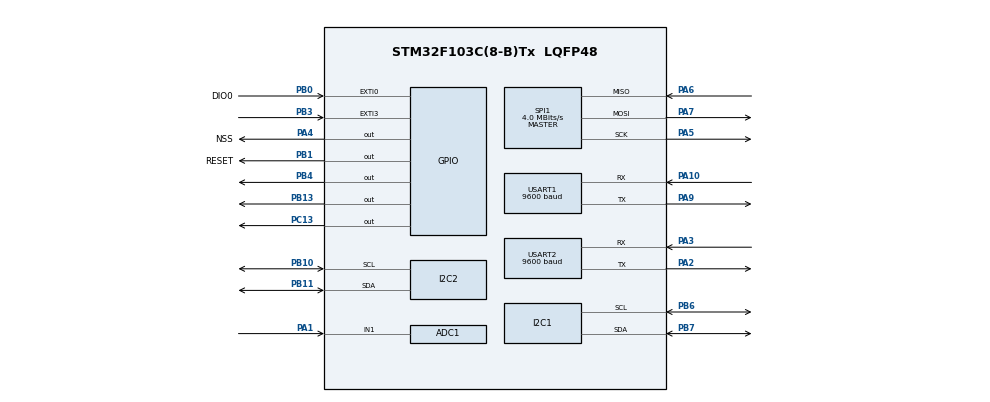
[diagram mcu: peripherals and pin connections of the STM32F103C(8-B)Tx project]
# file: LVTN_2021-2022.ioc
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ADC1.Channel-0\#ChannelRegularConversion=ADC_CHANNEL_1
ADC1.NbrOfConversionFlag=1
ADC1.Rank-0\#ChannelRegularConversion=1
ADC1.SamplingTime-0\#ChannelRegularConversion=ADC_SAMPLETIME_1CYCLE_5
ADC1.master=1
I2C1.I2C_Mode=I2C_Fast
I2C2.I2C_Mode=I2C_Fast
Mcu.Family=STM32F1
Mcu.Name=STM32F103C(8-B)Tx
Mcu.Package=LQFP48
NVIC.ADC1_2_IRQn=true\:0\:0\:false\:false\:true\:true\:true
NVIC.EXTI0_IRQn=true\:1\:0\:true\:false\:true\:true\:true
NVIC.EXTI3_IRQn=true\:0\:0\:false\:false\:true\:true\:true
NVIC.PVD_IRQn=true\:0\:0\:false\:false\:true\:true\:true
NVIC.PriorityGroup=NVIC_PRIORITYGROUP_4
NVIC.SPI1_IRQn=true\:0\:0\:false\:false\:true\:true\:true
NVIC.TIM1_UP_IRQn=true\:2\:0\:true\:false\:true\:true\:true
PA1.Signal=ADCx_IN1
PA10.Mode=Asynchronous
PA10.Signal=USART1_RX
PA13.Mode=Serial_Wire
PA13.Signal=SYS_JTMS-SWDIO
PA14.Mode=Serial_Wire
PA14.Signal=SYS_JTCK-SWCLK
PA2.Mode=Asynchronous
PA2.Signal=USART2_TX
PA3.Mode=Asynchronous
PA3.Signal=USART2_RX
PA4.GPIO_Label=NSS
PA4.PinState=GPIO_PIN_SET
PA4.Signal=GPIO_Output
PA5.Mode=Full_Duplex_Master
PA5.Signal=SPI1_SCK
PA6.Mode=Full_Duplex_Master
PA6.Signal=SPI1_MISO
PA7.Mode=Full_Duplex_Master
PA7.Signal=SPI1_MOSI
PA9.Mode=Asynchronous
PA9.Signal=USART1_TX
PB0.GPIO_Label=DIO0
PB0.Signal=GPXTI0
PB1.GPIO_Label=RESET
PB1.PinState=GPIO_PIN_SET
PB1.Signal=GPIO_Output
PB10.Mode=I2C
PB10.Signal=I2C2_SCL
PB11.Mode=I2C
PB11.Signal=I2C2_SDA
PB13.PinState=GPIO_PIN_SET
PB13.Signal=GPIO_Output
PB3.GPIO_PuPd=GPIO_PULLUP
PB3.Signal=GPXTI3
PB4.PinState=GPIO_PIN_RESET
PB4.Signal=GPIO_Output
PB6.Mode=I2C
PB6.Signal=I2C1_SCL
PB7.Mode=I2C
PB7.Signal=I2C1_SDA
PC13-TAMPER-RTC.GPIO_ModeDefaultOutputPP=GPIO_MODE_OUTPUT_PP
PC13-TAMPER-RTC.Signal=GPIO_Output
PD0-OSC_IN.Mode=HSE-External-Oscillator
PD0-OSC_IN.Signal=RCC_OSC_IN
PD1-OSC_OUT.Mode=HSE-External-Oscillator
PD1-OSC_OUT.Signal=RCC_OSC_OUT
ProjectManager.HeapSize=0x200
ProjectManager.StackSize=0x400
ProjectManager.TargetToolchain=STM32CubeIDE
RCC.APB1Freq_Value=8000000
RCC.APB2Freq_Value=8000000
SH.ADCx_IN1.0=ADC1_IN1,IN1
SPI1.CalculateBaudRate=4.0 MBits/s
SPI1.Direction=SPI_DIRECTION_2LINES
SPI1.Mode=SPI_MODE_MASTER
SPI1.VirtualType=VM_MASTER
TIM1.Period=999
TIM1.Prescaler=8000-1
USART1.BaudRate=9600
USART1.VirtualMode=VM_ASYNC
USART2.BaudRate=9600
USART2.VirtualMode=VM_ASYNC
VP_TIM1_VS_ClockSourceINT.Mode=Internal
board=custom

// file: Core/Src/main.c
/* USER CODE BEGIN Header */
/**
  ******************************************************************************
  * @file           : main.c
  * @brief          : Main program body
  ******************************************************************************
  * @attention
  *
  * <h2><center>&copy; Copyright (c) 2021 STMicroelectronics.
  * All rights reserved.</center></h2>
  *
  * This software component is licensed by ST under BSD 3-Clause license,
  * the "License"; You may not use this file except in compliance with the
  * License. You may obtain a copy of the License at:
  *                        opensource.org/licenses/BSD-3-Clause
  *
  ******************************************************************************
  */
/* USER CODE END Header */
#include "main.h"

/* USER CODE BEGIN Includes */
#include "driver.h"
#include "lora.h"
#include "stdio.h"
#include "stdlib.h"
#include <stdbool.h>
#include <string.h>
#include "math.h"
/* USER CODE END Includes */

ADC_HandleTypeDef hadc1;

I2C_HandleTypeDef hi2c1;
I2C_HandleTypeDef hi2c2;

SPI_HandleTypeDef hspi1;

TIM_HandleTypeDef htim1;

UART_HandleTypeDef huart1;
UART_HandleTypeDef huart2;

/* USER CODE BEGIN PV */
char *str = {0};
//////////////TIMER////////////
int k=0,c=0,q=0,e=0,w=0,v=0;
float XB=15,YB=2,ZB=74,XLB=13,YLB=1,ZLB=77;
//////////////WIND/////////////
int 	count=0;
char 	control1[6];
float 	wind_count,
		circumference_cm,
		rotations,
		distance_km,
		km_per_hour,
		speed;
///////////////LORA///////////////
char data[30]={0};
char data1[30]={0};
char receive_data[50]={0};
char receive_data1[50]={0};
uint8_t p=0,m=0;
////////////	DAT	/////////////
uint16_t adc_value=0;
float	GTao,b;
int GTthuc;
char sensor[10],sensor1[100];
char buffergn[100];
char buffergn1[100];
char l;

/////////////	GPS	////////////////
#define sentenceSize 80
char sentence[sentenceSize];
char datagps[50] = {0};
char datagps1[50] = {0};
char KD[100]= {0};
char VD[100]= {0};
/////////////////////////	pin 	//////////////////
int pnguyen,pthapphan;
int giatri;
char Phantrampin[100];
char *datagps1B = {0};
int warning;
///////////////////////////////////////////////////

/* USER CODE END PV */

void SystemClock_Config(void);
static void MX_GPIO_Init(void);
static void MX_ADC1_Init(void);
static void MX_I2C1_Init(void);
static void MX_I2C2_Init(void);
static void MX_SPI1_Init(void);
static void MX_TIM1_Init(void);
static void MX_USART1_UART_Init(void);
static void MX_USART2_UART_Init(void);

/* USER CODE BEGIN 0 */
/////////////////////////  PIN  //////////////////////////////////
#define MAX17043_ADDRESS 0x36<<1
uint8_t data_max[20];
void write (uint8_t reg,uint8_t value)
{
uint8_t data[2];
		data[0] = reg;
	  	data[1] = value;
	  	HAL_I2C_Master_Transmit (&hi2c1, MAX17043_ADDRESS, data, 2, 10);
}
void read (uint8_t reg )
{
	HAL_I2C_Mem_Read(&hi2c1, MAX17043_ADDRESS, reg, 1, (uint8_t *)data_max,3, 100);

}
void max17043_init(void)
{
write(0xFE,0x00);
write(0xFE,0x54);
HAL_Delay(100);
write(0x06, 0x00);
}
void pin()
{
	max17043_init();
	HAL_Delay(100);
	read(0x04);
	pnguyen = data_max[0];
    pthapphan = data_max[1];
	giatri = pnguyen + (pthapphan/256);
	HAL_Delay(500);
   	sprintf(Phantrampin,"\n phan tram pin = %d%%  \r\n", giatri);
   	HAL_UART_Transmit(&huart1, (uint8_t*)Phantrampin, strlen(Phantrampin), 100);
	  HAL_Delay(100);
	  }
/////////////////////////	GOC NGHIENG 1 	//////////////////
#define adxl_address 0x53<<1

int8_t data_rec1[6];
int16_t xl,yl,zl;
float xgl,ygl,zgl,
	  XL,YL,ZL,xxL,yyL,zzL;

void adxl_write1 (uint8_t reg,uint8_t value)
{
	uint8_t data1[2];
	data1[0] = reg;
	data1[1] = value;
	HAL_I2C_Master_Transmit (&hi2c2, adxl_address, data1, 2, 10);
}
void adxl_read1 (uint8_t reg, uint8_t numberofbytes)
{
	for(int i = 0; i < sizeof(data_rec1); i++)
		{
			data_rec1[i] = 0;
		}
	HAL_I2C_Mem_Read(&hi2c2, adxl_address, reg, 1, (uint8_t *)data_rec1,numberofbytes, 100);
}
void adxl_init1(void)
{
	adxl_read1(0x00,1);
	adxl_write1(0x2d,0);
	adxl_write1(0x2d,0x08);
	adxl_write1(0x31,0x01);

}

void kq_adxl1()
{
	adxl_read1(0x32,6);
	xl=data_rec1[1]<<8| data_rec1[0];
	yl=data_rec1[3]<<8| data_rec1[2];
	zl=data_rec1[5]<<8| data_rec1[4];
	xgl = xl* .0078;
	ygl = yl* .0078;
	zgl = zl* .0078;
//	fXg = Xg * alpha + (fXg * (1.0 - alpha));
	if(xgl!=0 || ygl!=0 || zgl!=0)
	{
//		fxg=xg* 0.5 +(fxg*0.5);
//		fyg=yg* 0.5 +(fyg*0.5);
//		fzg=zg* 0.5 +(fzg*0.5);

		//roll  = (atan2(-fyg, fzg)*180.0)/3.14;
		XL = (atan2(xgl, sqrt(ygl*ygl + zgl*zgl))*180.0)/3.14;
		YL = (atan2(ygl, sqrt(xgl*xgl + zgl*zgl))*180.0)/3.14;
		ZL = (atan2(zgl, sqrt(xgl*xgl + ygl*ygl))*180.0)/3.14;
//		sprintf(buffergn1,"\r\n XL=%.4f YL=%.4f  ZL=%.4f \r\n ",XL, YL,ZL );
//		HAL_UART_Transmit(&huart1 , (uint8_t *)buffergn1, strlen(buffergn1), 1000);
//
//		HAL_Delay(1000);
	}
	else
	{
		XL=0;
		YL=0;
		ZL=0;
//		sprintf(buffergn1,"\r\n XL=%.4f YL=%.4f  ZL=%.4f \r\n ",XL, YL,ZL );
//      HAL_UART_Transmit(&huart1 , (uint8_t *)buffergn1, strlen(buffergn1), 1000);
//		HAL_Delay(500);

	}
}
void kq_adxl_timer1()
{
	adxl_read1(0x32,6);
	xl=data_rec1[1]<<8| data_rec1[0];
	yl=data_rec1[3]<<8| data_rec1[2];
	zl=data_rec1[5]<<8| data_rec1[4];
	xgl = xl* .0078;
	ygl = yl* .0078;
	zgl = zl* .0078;
//	fXg = Xg * alpha + (fXg * (1.0 - alpha));
	if(xgl!=0 || ygl!=0 || zgl!=0)
	{
//		fxg=xg* 0.5 +(fxg*0.5);
//		fyg=yg* 0.5 +(fyg*0.5);
//		fzg=zg* 0.5 +(fzg*0.5);

		//roll  = (atan2(-fyg, fzg)*180.0)/3.14;
		XL = (atan2(xgl, sqrt(ygl*ygl + zgl*zgl))*180.0)/3.14;
		YL = (atan2(ygl, sqrt(xgl*xgl + zgl*zgl))*180.0)/3.14;
		ZL = (atan2(zgl, sqrt(xgl*xgl + ygl*ygl))*180.0)/3.14;
		sprintf(buffergn1,"\r\n XL=%.4f YL=%.4f  ZL=%.4f \r\n ",XL, YL,ZL );
		HAL_UART_Transmit(&huart1 , (uint8_t *)buffergn1, strlen(buffergn1), 100);
//
//		HAL_Delay(1000);
	}
	else
	{
		XL=0;
		YL=0;
		ZL=0;
//		sprintf(buffergn1,"\r\n XL=%.4f YL=%.4f  ZL=%.4f \r\n ",XL, YL,ZL );
//      HAL_UART_Transmit(&huart1 , (uint8_t *)buffergn1, strlen(buffergn1), 1000);
//		HAL_Delay(500);

	}
}

////////////////////////////// goc nghieng 2 ///////////////////////////
#define adxl_address 0x53<<1

int8_t data_rec[6];
int16_t x,y,z;
float xg,yg,zg,
	  X,Y,Z,xx,yy,zz;

void adxl_write (uint8_t reg,uint8_t value)
{
	uint8_t data[2];
	data[0] = reg;
	data[1] = value;
	HAL_I2C_Master_Transmit (&hi2c1, adxl_address, data, 2, 10);
}
void adxl_read (uint8_t reg, uint8_t numberofbytes)
{
	for(int i = 0; i < sizeof(data_rec); i++)
		{
			data_rec[i] = 0;
		}
	HAL_I2C_Mem_Read(&hi2c1, adxl_address, reg, 1, (uint8_t *)data_rec,numberofbytes, 100);
}
void adxl_init(void)
{
	adxl_read(0x00,1);
	adxl_write(0x2d,0);
	adxl_write(0x2d,0x08);
	adxl_write(0x31,0x01);

}

void kq_adxl()
{
	adxl_read(0x32,6);
	x=data_rec[1]<<8| data_rec[0];
	y=data_rec[3]<<8| data_rec[2];
	z=data_rec[5]<<8| data_rec[4];
	xg = x* .0078;
	yg = y* .0078;
	zg = z* .0078;
//	fXg = Xg * alpha + (fXg * (1.0 - alpha));
	if(xg!=0 || yg!=0 || zg!=0)
	{
//		fxg=xg* 0.5 +(fxg*0.5);
//		fyg=yg* 0.5 +(fyg*0.5);
//		fzg=zg* 0.5 +(fzg*0.5);

		//roll  = (atan2(-fyg, fzg)*180.0)/3.14;
		X = (atan2(xg, sqrt(yg*yg + zg*zg))*180.0)/3.14;
		Y = (atan2(yg, sqrt(xg*xg + zg*zg))*180.0)/3.14;
		Z = (atan2(zg, sqrt(xg*xg + yg*yg))*180.0)/3.14;
//		sprintf(buffergn,"\r\n XH=%.4f YH=%.4f  ZH=%.4f \r\n ",X, Y,Z );
//		HAL_UART_Transmit(&huart1 , (uint8_t *)buffergn, strlen(buffergn), 1000);
//
//		HAL_Delay(1000);
	}
	else
	{
		X=0;
		Y=0;
		Z=0;
//		sprintf(buffergn,"\r\n XH=%.4f YH=%.4f  ZH=%.4f \r\n ",X, Y,Z );
//        HAL_UART_Transmit(&huart1 , (uint8_t *)buffergn, strlen(buffergn), 1000);
//		HAL_Delay(500);

	}
}

void kq_adxl_timer()
{
	adxl_read(0x32,6);
	x=data_rec[1]<<8| data_rec[0];
	y=data_rec[3]<<8| data_rec[2];
	z=data_rec[5]<<8| data_rec[4];
	xg = x* .0078;
	yg = y* .0078;
	zg = z* .0078;
	//fXg = Xg * alpha + (fXg * (1.0 - alpha));
	if(xg!=0 || yg!=0 || zg!=0)
	{
//		fxg=xg* 0.5 +(fxg*0.5);
//		fyg=yg* 0.5 +(fyg*0.5);
//		fzg=zg* 0.5 +(fzg*0.5);

		//roll  = (atan2(-fyg, fzg)*180.0)/3.14;
		X = (atan2(xg, sqrt(yg*yg + zg*zg))*180.0)/3.14;
		Y = (atan2(yg, sqrt(xg*xg + zg*zg))*180.0)/3.14;
		Z = (atan2(zg, sqrt(xg*xg + yg*yg))*180.0)/3.14;
		sprintf(buffergn,"\r\n X=%.4f Y=%.4f  Z=%.4f \r\n ",X, Y,Z );
		HAL_UART_Transmit(&huart1 , (uint8_t *)buffergn, strlen(buffergn), 1000);

	//HAL_Delay(500);
	}
	else
	{
		X=0;
		Y=0;
		Z=0;
		sprintf(buffergn,"\r\n X=%.4f Y=%.4f  Z=%.4f \r\n ",X, Y,Z );
        HAL_UART_Transmit(&huart1 , (uint8_t *)buffergn, strlen(buffergn), 1000);
		HAL_Delay(1000);

	}
}

//////////////lora////////

void LoRa_txMode(void)
{
    LoRa_idle(); // set standby mode
    LoRa_enableInvertIQ(); // active invert I and Q signals
}

void LoRa_rxMode(void)
{
	LoRa_disableInvertIQ(); // normal mode
    LoRa_receive(0); // set receive mode
}

void send_id(uint8_t id)
{
    char buffer[30];
    sprintf(buffer, "%d", id);
    LoRa_txMode();
    LoRa_sendPacket(buffer);

}

uint8_t get_id(void)
{
    char buffer[30]={0};

    LoRa_rxMode();
    LoRa_receivePacket(buffer, 7000);
    uint8_t id = atoi(buffer);
    for(uint8_t i = 0; i < strlen(buffer); i++)
        {
            buffer[i] = 0;
        }
    return id;
}

void clear_buffer(char* buffer)
{
    uint8_t i;
    for(i = 0; i < sizeof(buffer); i++)
    {
        buffer[i] = 0;
    }
}

void Response_Gateway(void)
{
    uint8_t ID,t=0,k=0,i=0,q=0;

    char send_data[120]={0};

    	for( i = 0; i < sizeof(data); i++)
    	{
    		data[i] = 0;
    	}
        LoRa_rxMode();
    	LoRa_receivePacket(data, 40000);
    	 HAL_UART_Transmit(&huart1, (uint8_t *)data ,sizeof(data), 5000);
        if(!strcmp(data,"hello"))
        {
        	HAL_GPIO_WritePin(GPIOB, GPIO_PIN_13, GPIO_PIN_RESET);
        	HAL_UART_Transmit(&huart1, (uint8_t *)"\n\rSend ID to Gateway:" ,21,10000);
        	LoRa_txMode();
         	HAL_Delay(1000);
            send_id(ID_NODE);
            HAL_GPIO_WritePin(GPIOB, GPIO_PIN_13, GPIO_PIN_SET);
            HAL_Delay(500);
            sprintf(data1, " %d",ID_NODE );
            HAL_UART_Transmit(&huart1, (uint8_t *)data1 ,strlen(data1), 5000);
            HAL_UART_Transmit(&huart1, (uint8_t *)"\n\rGet ID from Gateway:" ,22, 10000);
            ID = get_id();
            sprintf(data1, " %d", ID);
            HAL_UART_Transmit(&huart1, (uint8_t *)data1 ,strlen(data1), 5000);
            LoRa_rxMode();
            t=0;
            k=0;
            if(ID == ID_NODE)
            {
            	while(1)
            	{

            		for( q = 0; q < sizeof(receive_data); q++)
            		{
            			receive_data[q] = 0;
            		}
            		LoRa_receivePacket(receive_data, 20000);
            		k++;
            		if(k==10) ///////////////////// thêm nút thì tăng k
            		{
            			break;
            		}
            		if(!strcmp(receive_data,"send_data"))
            		{
            			for( k=0;k<5;k++)
            			{
            				if(t==8) //////////////////khoảng 4 nút
            				{
            					break;
            				}
            				while(1)

            				{
            					for( i = 0; i < sizeof(receive_data1); i++)
								{
									 receive_data1[i] = 0;
								}
            					LoRa_rxMode();
            					LoRa_receivePacket(receive_data1, 12000);
            					if(!strcmp(receive_data1,"1"))
            					{
            						HAL_ADC_Start_IT(&hadc1);
            						KqTocdogio();
            						pin();
            						kq_adxl();
            						kq_adxl1();
									//itoa(speed,control1,10);///////gio
									itoa(GTthuc,sensor,10);///////dat
									HAL_Delay(400);
									sprintf(send_data,"*%s!%s#%s$%.f&%.f %.f^%s@%d<%.f&%.f %.f^%d@",receive_data1,datagps1B,sensor,X,Y,Z,control1,giatri,XL,YL,ZL,warning );
									HAL_UART_Transmit(&huart1, (uint8_t *)"\n\rSend data node2:" ,20,10000);
									HAL_GPIO_WritePin(GPIOB, GPIO_PIN_13, GPIO_PIN_RESET);
									HAL_Delay(1000);
									LoRa_txMode();
									LoRa_sendPacket(send_data);
									if( X-xx>5 || Y-yy>5 )
								    {
									  p++;
									}
									if( X-xx<-5 || Y-yy<-5 )
									{
									  m++;
									}
									HAL_UART_Transmit(&huart1, (uint8_t *)"\n\r", 3,1000);
									HAL_UART_Transmit(&huart1, (uint8_t *)send_data,strlen(send_data),5000);
									for(i=0;i<sizeof(send_data);i++)
									{
										send_data[i]=0;
									}
									for(i=0;i<sizeof(sensor);i++)
									{
										sensor[i]=0;
									}
									HAL_Delay(500);
									t=0;
									HAL_GPIO_WritePin(GPIOB, GPIO_PIN_13, GPIO_PIN_SET);
									break;
            					}
            					t++;
            					if(t==8)
            					{
            						break;
            					}
            					for( i = 0; i < sizeof(receive_data1); i++)
            					{
            					     receive_data1[i] = 0;
            					}

            				}

            			}
            			LoRa_txMode();
            			HAL_TIM_Base_Stop_IT(&htim1);
            			HAL_NVIC_DisableIRQ(EXTI3_IRQn);
//            			RTC_SetTime(9, 9, 0, 20, 3, 21);
//            			sleep_1p();
            			HAL_NVIC_EnableIRQ(EXTI3_IRQn);
            			break;
            		}
            		for( q = 0; q < sizeof(receive_data); q++)
            		{
            			receive_data[q] = 0;
            		}

            	}
            }
        }

}
////////////////////	WIND	//////////////////
void KqTocdogio()
  {
	  HAL_UART_Transmit(&huart1,(uint8_t*)"toc do gio: ",14,10000);
	  itoa(speed,control1,10);
	  HAL_UART_Transmit(&huart1,(uint8_t*)control1,4,10000);
	  HAL_UART_Transmit(&huart1,(uint8_t*)"km/h ",6,10000);
	  HAL_UART_Transmit(&huart1,(uint8_t*)"\n\r ",2,10000);
	  HAL_Delay(999);
  }

//////////////////	GPS		//////////////////////
void getField(char* buff, int index)
{
  int sentencePos = 0;
  int fieldPos = 0;
  int commaCount = 0;
  while (sentencePos < sentenceSize)
  {
    if (sentence[sentencePos] == ',')
    {
      commaCount ++;
      sentencePos ++;
    }
    if (commaCount == index)
    {
      buff[fieldPos] = sentence[sentencePos];
      fieldPos ++;
    }
    sentencePos ++;
  }
  buff[fieldPos] = '\0';
}
void kqgps()
{
	  int i = 0;
	  char ch;
	  while (1)
	  {
		  if(HAL_UART_Receive(&huart2, (uint8_t*)&ch, 1, 100) == HAL_OK)
		  {
			  if (ch != '\n' && i < sentenceSize)
			  {
				sentence[i] = ch;
				i++;
			  }
			  else
			  {
				  sentence[i] = '\0';
				  i = 0;
				  char field[20];
				  char TIME[20];
				  char hour[3];
				  int hourValue;
				  char minute[3];
				  char second[3];
				  char LATITUDE[15]={0};
				  char northSouth[3];
				  char LONGITUDE[15]={0};
				  char westEast[3];
				  char ALTITUDE[10];

				  getField(field, 0);
				  if (strcmp(field, "$GPGGA") == 0)
				  {
					  getField(TIME, 1); // Time
					  getField(LATITUDE, 2); // Latitude
					  getField(northSouth, 3); // North/South
					  getField(LONGITUDE, 4); // Longitude
					  getField(westEast, 5); // West/East
					  getField(ALTITUDE, 9); // Altitude above mean sea level

					  strncpy(hour, TIME, 2);
					  hourValue = atoi(hour) + 7; // Add 2 to adjust for France zone from GMT
					  itoa(hourValue, hour, 10);
					  hour[2]= '\0';
					  strncpy(minute, &TIME[2], 2);
					  minute[2]= '\0';
					  strncpy(second, &TIME[4], 2);
					  second[2]= '\0';

//					  sprintf(datagps, "%s:%s:%s, %s%s, %s%s, %s ", hour, minute, second, LATITUDE, northSouth, LONGITUDE, westEast, ALTITUDE);
					  sprintf(datagps, "%s>%s", LONGITUDE,LATITUDE);

					  HAL_UART_Transmit(&huart1, (uint8_t*)"\n----->", 8, 1000);
					  HAL_UART_Transmit(&huart1, (uint8_t*)datagps, strlen(datagps), 5000);
					  if(ALTITUDE[0] !=48)
					  {
						 break;
					  }
					  for(uint8_t i=0;i<sizeof(datagps);i++)
					  {
						  datagps[i]=0;
					  }

				  }

			  }
		  }
	  }
}

/* USER CODE END 0 */

int main(void)
{

  /* MCU Configuration--------------------------------------------------------*/

  /* Reset of all peripherals, Initializes the Flash interface and the Systick. */
  HAL_Init();

  /* Configure the system clock */
  SystemClock_Config();

  /* Initialize all configured peripherals */
  MX_GPIO_Init();
  MX_ADC1_Init();
  MX_I2C1_Init();
  MX_I2C2_Init();
  MX_SPI1_Init();
  MX_TIM1_Init();
  MX_USART1_UART_Init();
  MX_USART2_UART_Init();
  /* USER CODE BEGIN 2 */
 // kqgps();
  max17043_init();
  for(uint8_t i=0;i<strlen(datagps);i++)
  {
  	datagps1[i]=datagps[i];
  }
  adxl_init1();
  adxl_init();
  if(!LoRa_Init(434E6))
   {
 	  char str[] = "\n\rLoRa init failed\n\r";
 	  HAL_UART_Transmit(&huart1 , (uint8_t*)str, sizeof(str), 1000);
       while(1);
   }
	LoRa_setSignalBandwidth(125E3);
	LoRa_setSpreadingFactor(8);
	LoRa_setPreambleLength(8);
	LoRa_setCodingRate4(5);
	LoRa_enableCrc();
   char str[] = "\n\rLoRa Node init succeeded\n\r";
   HAL_UART_Transmit(&huart1 , (uint8_t*)str, sizeof(str), 1000);
   LoRa_rxMode();

  /* USER CODE END 2 */

  /* Infinite loop */
  /* USER CODE BEGIN WHILE */

   for(uint8_t a=0;a<3;a++)
   {
	   kq_adxl();
	   kq_adxl1();
	   xxL=XL;
	   yyL=YL;
	   zzL=ZL;
	   xx=X;
	   yy=Y;
	   zz=Z;
	   sprintf(buffergn,"\r\n XH=%.4f YH=%.4f  ZH=%.4f \r\n ",X, Y,Z );
	   sprintf(buffergn1,"\r\n XL=%.4f YL=%.4f  ZL=%.4f \r\n ",XL, YL,ZL );
	   HAL_UART_Transmit(&huart1 , (uint8_t *)buffergn, strlen(buffergn), 100);
	   HAL_UART_Transmit(&huart1 , (uint8_t *)buffergn1, strlen(buffergn1), 100);
	   HAL_GPIO_WritePin(GPIOB, GPIO_PIN_13, GPIO_PIN_SET);
	   HAL_Delay(200);
	   HAL_GPIO_WritePin(GPIOB, GPIO_PIN_13, GPIO_PIN_RESET);
	   datagps1B = "10546.8284>1002.8274";
   }

  while (1)
  {
	  HAL_TIM_Base_Start_IT(&htim1);
	  Response_Gateway();
    /* USER CODE END WHILE */

  }
}

void SystemClock_Config(void)
{
  RCC_OscInitTypeDef RCC_OscInitStruct = {0};
  RCC_ClkInitTypeDef RCC_ClkInitStruct = {0};
  RCC_PeriphCLKInitTypeDef PeriphClkInit = {0};

  /** Initializes the RCC Oscillators according to the specified parameters
  * in the RCC_OscInitTypeDef structure.
  */
  RCC_OscInitStruct.OscillatorType = RCC_OSCILLATORTYPE_HSI;
  RCC_OscInitStruct.HSIState = RCC_HSI_ON;
  RCC_OscInitStruct.HSICalibrationValue = RCC_HSICALIBRATION_DEFAULT;
  RCC_OscInitStruct.PLL.PLLState = RCC_PLL_NONE;
  if (HAL_RCC_OscConfig(&RCC_OscInitStruct) != HAL_OK)
  {
    Error_Handler();
  }
  /** Initializes the CPU, AHB and APB buses clocks
  */
  RCC_ClkInitStruct.ClockType = RCC_CLOCKTYPE_HCLK|RCC_CLOCKTYPE_SYSCLK
                              |RCC_CLOCKTYPE_PCLK1|RCC_CLOCKTYPE_PCLK2;
  RCC_ClkInitStruct.SYSCLKSource = RCC_SYSCLKSOURCE_HSI;
  RCC_ClkInitStruct.AHBCLKDivider = RCC_SYSCLK_DIV1;
  RCC_ClkInitStruct.APB1CLKDivider = RCC_HCLK_DIV1;
  RCC_ClkInitStruct.APB2CLKDivider = RCC_HCLK_DIV1;

  if (HAL_RCC_ClockConfig(&RCC_ClkInitStruct, FLASH_LATENCY_0) != HAL_OK)
  {
    Error_Handler();
  }
  PeriphClkInit.PeriphClockSelection = RCC_PERIPHCLK_ADC;
  PeriphClkInit.AdcClockSelection = RCC_ADCPCLK2_DIV2;
  if (HAL_RCCEx_PeriphCLKConfig(&PeriphClkInit) != HAL_OK)
  {
    Error_Handler();
  }
}

static void MX_ADC1_Init(void)
{

  ADC_ChannelConfTypeDef sConfig = {0};

  /** Common config
  */
  hadc1.Instance = ADC1;
  hadc1.Init.ScanConvMode = ADC_SCAN_DISABLE;
  hadc1.Init.ContinuousConvMode = DISABLE;
  hadc1.Init.DiscontinuousConvMode = DISABLE;
  hadc1.Init.ExternalTrigConv = ADC_SOFTWARE_START;
  hadc1.Init.DataAlign = ADC_DATAALIGN_RIGHT;
  hadc1.Init.NbrOfConversion = 1;
  if (HAL_ADC_Init(&hadc1) != HAL_OK)
  {
    Error_Handler();
  }
  /** Configure Regular Channel
  */
  sConfig.Channel = ADC_CHANNEL_1;
  sConfig.Rank = ADC_REGULAR_RANK_1;
  sConfig.SamplingTime = ADC_SAMPLETIME_1CYCLE_5;
  if (HAL_ADC_ConfigChannel(&hadc1, &sConfig) != HAL_OK)
  {
    Error_Handler();
  }

}

static void MX_I2C1_Init(void)
{

  hi2c1.Instance = I2C1;
  hi2c1.Init.ClockSpeed = 400000;
  hi2c1.Init.DutyCycle = I2C_DUTYCYCLE_2;
  hi2c1.Init.OwnAddress1 = 0;
  hi2c1.Init.AddressingMode = I2C_ADDRESSINGMODE_7BIT;
  hi2c1.Init.DualAddressMode = I2C_DUALADDRESS_DISABLE;
  hi2c1.Init.OwnAddress2 = 0;
  hi2c1.Init.GeneralCallMode = I2C_GENERALCALL_DISABLE;
  hi2c1.Init.NoStretchMode = I2C_NOSTRETCH_DISABLE;
  if (HAL_I2C_Init(&hi2c1) != HAL_OK)
  {
    Error_Handler();
  }

}

static void MX_I2C2_Init(void)
{

  hi2c2.Instance = I2C2;
  hi2c2.Init.ClockSpeed = 400000;
  hi2c2.Init.DutyCycle = I2C_DUTYCYCLE_2;
  hi2c2.Init.OwnAddress1 = 0;
  hi2c2.Init.AddressingMode = I2C_ADDRESSINGMODE_7BIT;
  hi2c2.Init.DualAddressMode = I2C_DUALADDRESS_DISABLE;
  hi2c2.Init.OwnAddress2 = 0;
  hi2c2.Init.GeneralCallMode = I2C_GENERALCALL_DISABLE;
  hi2c2.Init.NoStretchMode = I2C_NOSTRETCH_DISABLE;
  if (HAL_I2C_Init(&hi2c2) != HAL_OK)
  {
    Error_Handler();
  }

}

static void MX_SPI1_Init(void)
{

  /* SPI1 parameter configuration*/
  hspi1.Instance = SPI1;
  hspi1.Init.Mode = SPI_MODE_MASTER;
  hspi1.Init.Direction = SPI_DIRECTION_2LINES;
  hspi1.Init.DataSize = SPI_DATASIZE_8BIT;
  hspi1.Init.CLKPolarity = SPI_POLARITY_LOW;
  hspi1.Init.CLKPhase = SPI_PHASE_1EDGE;
  hspi1.Init.NSS = SPI_NSS_SOFT;
  hspi1.Init.BaudRatePrescaler = SPI_BAUDRATEPRESCALER_2;
  hspi1.Init.FirstBit = SPI_FIRSTBIT_MSB;
  hspi1.Init.TIMode = SPI_TIMODE_DISABLE;
  hspi1.Init.CRCCalculation = SPI_CRCCALCULATION_DISABLE;
  hspi1.Init.CRCPolynomial = 10;
  if (HAL_SPI_Init(&hspi1) != HAL_OK)
  {
    Error_Handler();
  }

}

static void MX_TIM1_Init(void)
{

  TIM_ClockConfigTypeDef sClockSourceConfig = {0};
  TIM_MasterConfigTypeDef sMasterConfig = {0};

  htim1.Instance = TIM1;
  htim1.Init.Prescaler = 8000-1;
  htim1.Init.CounterMode = TIM_COUNTERMODE_UP;
  htim1.Init.Period = 999;
  htim1.Init.ClockDivision = TIM_CLOCKDIVISION_DIV1;
  htim1.Init.RepetitionCounter = 0;
  htim1.Init.AutoReloadPreload = TIM_AUTORELOAD_PRELOAD_DISABLE;
  if (HAL_TIM_Base_Init(&htim1) != HAL_OK)
  {
    Error_Handler();
  }
  sClockSourceConfig.ClockSource = TIM_CLOCKSOURCE_INTERNAL;
  if (HAL_TIM_ConfigClockSource(&htim1, &sClockSourceConfig) != HAL_OK)
  {
    Error_Handler();
  }
  sMasterConfig.MasterOutputTrigger = TIM_TRGO_RESET;
  sMasterConfig.MasterSlaveMode = TIM_MASTERSLAVEMODE_DISABLE;
  if (HAL_TIMEx_MasterConfigSynchronization(&htim1, &sMasterConfig) != HAL_OK)
  {
    Error_Handler();
  }

}

static void MX_USART1_UART_Init(void)
{

  huart1.Instance = USART1;
  huart1.Init.BaudRate = 9600;
  huart1.Init.WordLength = UART_WORDLENGTH_8B;
  huart1.Init.StopBits = UART_STOPBITS_1;
  huart1.Init.Parity = UART_PARITY_NONE;
  huart1.Init.Mode = UART_MODE_TX_RX;
  huart1.Init.HwFlowCtl = UART_HWCONTROL_NONE;
  huart1.Init.OverSampling = UART_OVERSAMPLING_16;
  if (HAL_UART_Init(&huart1) != HAL_OK)
  {
    Error_Handler();
  }

}

static void MX_USART2_UART_Init(void)
{

  huart2.Instance = USART2;
  huart2.Init.BaudRate = 9600;
  huart2.Init.WordLength = UART_WORDLENGTH_8B;
  huart2.Init.StopBits = UART_STOPBITS_1;
  huart2.Init.Parity = UART_PARITY_NONE;
  huart2.Init.Mode = UART_MODE_TX_RX;
  huart2.Init.HwFlowCtl = UART_HWCONTROL_NONE;
  huart2.Init.OverSampling = UART_OVERSAMPLING_16;
  if (HAL_UART_Init(&huart2) != HAL_OK)
  {
    Error_Handler();
  }

}

static void MX_GPIO_Init(void)
{
  GPIO_InitTypeDef GPIO_InitStruct = {0};

  /* GPIO Ports Clock Enable */
  __HAL_RCC_GPIOC_CLK_ENABLE();
  __HAL_RCC_GPIOD_CLK_ENABLE();
  __HAL_RCC_GPIOA_CLK_ENABLE();
  __HAL_RCC_GPIOB_CLK_ENABLE();

  /*Configure GPIO pin Output Level */
  HAL_GPIO_WritePin(GPIOC, GPIO_PIN_13, GPIO_PIN_RESET);

  /*Configure GPIO pin Output Level */
  HAL_GPIO_WritePin(NSS_GPIO_Port, NSS_Pin, GPIO_PIN_SET);

  /*Configure GPIO pin Output Level */
  HAL_GPIO_WritePin(GPIOB, RESET_Pin|GPIO_PIN_13, GPIO_PIN_SET);

  /*Configure GPIO pin Output Level */
  HAL_GPIO_WritePin(GPIOB, GPIO_PIN_4, GPIO_PIN_RESET);

  /*Configure GPIO pin : PC13 */
  GPIO_InitStruct.Pin = GPIO_PIN_13;
  GPIO_InitStruct.Mode = GPIO_MODE_OUTPUT_PP;
  GPIO_InitStruct.Pull = GPIO_NOPULL;
  GPIO_InitStruct.Speed = GPIO_SPEED_FREQ_LOW;
  HAL_GPIO_Init(GPIOC, &GPIO_InitStruct);

  /*Configure GPIO pin : NSS_Pin */
  GPIO_InitStruct.Pin = NSS_Pin;
  GPIO_InitStruct.Mode = GPIO_MODE_OUTPUT_PP;
  GPIO_InitStruct.Pull = GPIO_NOPULL;
  GPIO_InitStruct.Speed = GPIO_SPEED_FREQ_LOW;
  HAL_GPIO_Init(NSS_GPIO_Port, &GPIO_InitStruct);

  /*Configure GPIO pin : DIO0_Pin */
  GPIO_InitStruct.Pin = DIO0_Pin;
  GPIO_InitStruct.Mode = GPIO_MODE_IT_RISING;
  GPIO_InitStruct.Pull = GPIO_NOPULL;
  HAL_GPIO_Init(DIO0_GPIO_Port, &GPIO_InitStruct);

  /*Configure GPIO pins : RESET_Pin PB13 PB4 */
  GPIO_InitStruct.Pin = RESET_Pin|GPIO_PIN_13|GPIO_PIN_4;
  GPIO_InitStruct.Mode = GPIO_MODE_OUTPUT_PP;
  GPIO_InitStruct.Pull = GPIO_NOPULL;
  GPIO_InitStruct.Speed = GPIO_SPEED_FREQ_LOW;
  HAL_GPIO_Init(GPIOB, &GPIO_InitStruct);

  /*Configure GPIO pin : PB3 */
  GPIO_InitStruct.Pin = GPIO_PIN_3;
  GPIO_InitStruct.Mode = GPIO_MODE_IT_RISING;
  GPIO_InitStruct.Pull = GPIO_PULLUP;
  HAL_GPIO_Init(GPIOB, &GPIO_InitStruct);

  /* EXTI interrupt init*/
  HAL_NVIC_SetPriority(EXTI0_IRQn, 1, 0);
  HAL_NVIC_EnableIRQ(EXTI0_IRQn);

  HAL_NVIC_SetPriority(EXTI3_IRQn, 0, 0);
  HAL_NVIC_EnableIRQ(EXTI3_IRQn);

}

/* USER CODE BEGIN 4 */
void HAL_GPIO_EXTI_Callback(uint16_t GPIO_Pin)
{
	if(GPIO_Pin == DIO0_Pin)
	 {
		LoRa_handleDio0Rise();
	 }
	if(GPIO_Pin==GPIO_PIN_3)
		count++;
}
void HAL_ADC_ConvCpltCallback(ADC_HandleTypeDef* hadc)
  {
	  if(hadc->Instance==ADC1)
	  {
		  adc_value=HAL_ADC_GetValue(&hadc1);
		  b=adc_value;
		  GTao=(b/4096)*100;
		  GTthuc=100-GTao;
		  if(GTthuc<5)
		  {
			  GTthuc=0;
		  }
		  HAL_UART_Transmit(&huart1,(uint8_t*)"HUMI:", 6,1000);
		  sprintf(sensor,"%d",GTthuc);
		  HAL_UART_Transmit(&huart1,(uint8_t*)sensor, 5,1000);
		  HAL_UART_Transmit(&huart1,(uint8_t*)"%", 1,1000);
		  HAL_UART_Transmit(&huart1,(uint8_t*)"\n\r", 2,1000);
		  for(uint8_t i=0;i<3;i++)
		  {
			  sensor[i]=0;
		  }
	  }
  }

void Counter()
{
	count++;
}

void Wind()
{
	uint8_t radius_cm = 9;

	circumference_cm = 2 * 3.14 * radius_cm;
	rotations = count / 2;
	distance_km = (circumference_cm * rotations) / 100000;
	km_per_hour = (distance_km / 1) * 3600;
	speed = km_per_hour * 1.18;
}

void HAL_TIM_PeriodElapsedCallback(TIM_HandleTypeDef *htim)
{
	if(htim->Instance == htim1.Instance)
	{
		Wind();
		count=0;
		HAL_GPIO_WritePin(GPIOB, GPIO_PIN_13, GPIO_PIN_RESET);
		if (q==5)
		{
			q=0;
			k=0;
			c=0;
			w=0;
			v=0;
			//warning=0;
		}
		if(e==20)
		{
			e=0;
			HAL_GPIO_WritePin(GPIOB, GPIO_PIN_4, GPIO_PIN_RESET);
		}
		kq_adxl_timer1();
		kq_adxl_timer();
		if( XL-xxL>5 || YL-yyL>5 )
		{
			w++;
		}
		if( XL-xxL<-5 || YL-yyL<-5 )
		{
			v++;
		}
		if( X-xx>15 || Y-yy > 15 )
		{
			k++;
		}
		if( X-xx<-15 ||Y-yy<-15 )
		{
			c++;
		}
		if(X!=0 && Y!=0 && Z!=0)
		{	if(k>2 && w>2 )
			{
			  HAL_GPIO_WritePin(GPIOB, GPIO_PIN_4, GPIO_PIN_SET);
//			  sstr = "warning\r\n";
//			  HAL_UART_Transmit(&huart1, (uint8_t *)sstr, strlen (sstr), HAL_MAX_DELAY);
			  warning = HAL_GPIO_ReadPin(GPIOB, GPIO_PIN_4);
			}
			if(c>2 && v>2)
			{
			 HAL_GPIO_WritePin(GPIOB, GPIO_PIN_4, GPIO_PIN_SET);
//			 sstr = "warning\r\n";
//			 HAL_UART_Transmit(&huart1, (uint8_t *)sstr, strlen (sstr), HAL_MAX_DELAY);
			  warning = HAL_GPIO_ReadPin(GPIOB, GPIO_PIN_4);
			}
			if(k>2 && v>2 )
			{
			 HAL_GPIO_WritePin(GPIOB, GPIO_PIN_4, GPIO_PIN_SET);
		//	 sstr = "warning\r\n";
		//	 HAL_UART_Transmit(&huart1, (uint8_t *)sstr, strlen (sstr), HAL_MAX_DELAY);
			 warning = HAL_GPIO_ReadPin(GPIOB, GPIO_PIN_4);
			}
			if(c>2 && w>2)
			{
			 HAL_GPIO_WritePin(GPIOB, GPIO_PIN_4, GPIO_PIN_SET);
		//	 sstr = "warning\r\n";
		//	 HAL_UART_Transmit(&huart1, (uint8_t *)sstr, strlen (sstr), HAL_MAX_DELAY);
			 warning = HAL_GPIO_ReadPin(GPIOB, GPIO_PIN_4);
					}
		    }
		q++;
		if(HAL_GPIO_ReadPin(GPIOB,  GPIO_PIN_4)==1)
		{
			e++;
		}
	}
}

/* USER CODE END 4 */

void Error_Handler(void)
{
  __disable_irq();
  while (1)
  {
  }
}

/************************ (C) COPYRIGHT STMicroelectronics *****END OF FILE****/
